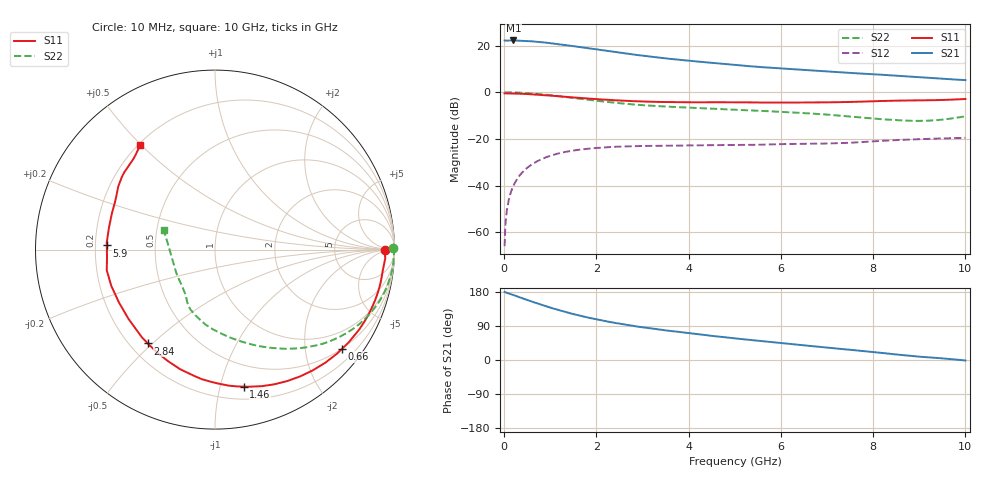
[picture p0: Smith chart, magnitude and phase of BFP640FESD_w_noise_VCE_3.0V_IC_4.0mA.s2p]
! Infineon Technologies  Discrete & RF Semiconductors
! BFP640FESD
! VCE =  3.0 V,  IC =  4.0 mA
! Common Emitter S-Parameters:  Jan 2016
# GHz  S  MA  R  50
!  f  S11  S21  S12  S22
! GHz  MAG  ANG  MAG  ANG  MAG  ANG  MAG  ANG
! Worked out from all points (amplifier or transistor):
!   233 points, 10 MHz to 10 GHz, reference 50 ohm
!   highest |S21| = 22.2 dB at 200 MHz (marker M1)
!   |S21| within 3 dB of that: start of sweep to 1.705 GHz
!   unconditionally stable (mu >= 1): 6.136 GHz to end of sweep
!   at 200 MHz: K = 0.02, MSG = 31.2 dB, |S12| = -40.2 dB
!   at 1.74 GHz: K = 0.24, MSG = 21.7 dB, |S12| = -24.4 dB
!   at 10 GHz: K = 1.25, MAG = 9.4 dB, |S12| = -19.6 dB
!   lowest NFmin = 0.49 dB at 450 MHz
!   S11 on the Smith chart (normalised r, x): 10 MHz: 38, -3; 660 MHz: 0.50, -2.83; 1.46 GHz: 0.30, -1.19; 2.84 GHz: 0.27, -0.48; 5.9 GHz: 0.25, +0.02; 10 GHz: 0.21, +0.50
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0.01  0.949 -0.2  12.89 179.5  0.0005 46.7  0.9926 0.5
0.03  0.9474 -1.8  12.83 178.7  0.0016 91.8  0.9977 -1.0
0.06  0.9484 -3.5  12.84 177.3  0.003 89.6  0.9978 -2.1
0.2  0.9405 -11.8  12.93 171.6  0.0098 82.8  0.9928 -7.0
0.4  0.9281 -23.3  12.74 162.8  0.0194 76.8  0.9744 -13.9
0.66  0.8979 -38.0  12.25 151.7  0.0308 68.4  0.934 -22.4
0.82  0.8768 -46.7  11.83 145.2  0.0371 63.8  0.9035 -27.5
1.04  0.8438 -58.2  11.2 136.8  0.0447 57.6  0.8559 -33.9
1.22  0.8163 -67.2  10.66 130.3  0.05 53.1  0.8157 -38.9
1.46  0.7804 -78.1  9.886 122.4  0.0556 47.6  0.7618 -45.0
1.68  0.7504 -87.5  9.229 115.7  0.0596 43.2  0.7165 -50.2
1.88  0.7273 -95.1  8.63 110.3  0.0625 39.8  0.6789 -54.5
2.2  0.6942 -106.2  7.788 102.4  0.066 35.2  0.6264 -60.8
2.58  0.6611 -118.2  6.916 94.1  0.0689 30.6  0.5737 -67.8
2.84  0.6428 -125.6  6.388 89.1  0.0699 28.3  0.544 -72.2
3.4  0.6192 -139.0  5.475 79.9  0.0713 24.7  0.5006 -79.6
4  0.6109 -151.1  4.754 70.9  0.0725 22.6  0.4687 -85.8
5.1  0.6111 -170.5  3.783 55.8  0.0742 20.4  0.4178 -97.9
5.9  0.6033 177.8  3.308 46.2  0.0768 20.8  0.3855 -105.6
6.8  0.6055 163.4  2.891 35.1  0.0793 21.1  0.3422 -115.8
8.4  0.6584 141.9  2.302 15.9  0.0933 23.1  0.2564 -144.3
10  0.7171 125.5  1.825 -1.3  0.1053 18.2  0.3052 159.3
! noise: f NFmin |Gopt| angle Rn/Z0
0.45  0.49  0.6  7  0.15
2.4  0.72  0.32  55  0.13
5.5  1.03  0.42  148  0.08
10  1.94  0.53  -123  0.27
